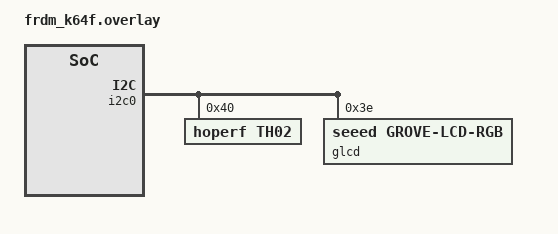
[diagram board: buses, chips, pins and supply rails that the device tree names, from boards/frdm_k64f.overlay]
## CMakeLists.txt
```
# SPDX-License-Identifier: Apache-2.0

cmake_minimum_required(VERSION 3.20.0)
find_package(Zephyr REQUIRED HINTS $ENV{ZEPHYR_BASE})
project(th02)

FILE(GLOB app_sources src/*.c)
target_sources(app PRIVATE ${app_sources})
```

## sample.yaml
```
sample:
  name: TH02 Temperature and Humidity Monitor
tests:
  sample.sensor.th02:
    harness: sensor
    tags: sensors
    depends_on: i2c
    filter: dt_compat_enabled("hoperf,th02") and dt_compat_enabled("seeed,grove-lcd-rgb")
```

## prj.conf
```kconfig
CONFIG_STDOUT_CONSOLE=y
CONFIG_I2C=y
CONFIG_SENSOR=y
CONFIG_LOG=n
CONFIG_SENSOR_LOG_LEVEL_DBG=y
CONFIG_GROVE_LCD_RGB=y
CONFIG_CBPRINTF_FP_SUPPORT=y
```

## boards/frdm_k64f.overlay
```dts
/*
 * Copyright (c) 2019, Linaro Ltd.
 *
 * SPDX-License-Identifier: Apache-2.0
 */

&i2c0 {
	th02@40 {
		compatible = "hoperf,th02";
		reg = <0x40>;
	};

	glcd: glcd@3e {
		compatible = "seeed,grove-lcd-rgb";
		reg = <0x3e>;
	};
};
```

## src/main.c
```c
/*
 * Copyright (c) 2016 Intel Corporation.
 *
 * SPDX-License-Identifier: Apache-2.0
 */

#include <zephyr/kernel.h>
#include <zephyr/device.h>
#include <zephyr/drivers/sensor.h>
#include <zephyr/sys/printk.h>
#include <zephyr/sys/util.h>

#include <zephyr/drivers/misc/grove_lcd/grove_lcd.h>
#include <stdio.h>
#include <string.h>

struct channel_info {
	int chan;
};

static struct channel_info info[] = {
	{ SENSOR_CHAN_AMBIENT_TEMP, },
	{ SENSOR_CHAN_HUMIDITY, },
};

int main(void)
{
	const struct device *const glcd = DEVICE_DT_GET(DT_NODELABEL(glcd));
	const struct device *const th02 = DEVICE_DT_GET_ONE(hoperf_th02);
	struct sensor_value val[ARRAY_SIZE(info)];
	unsigned int i;
	int rc;

	if (!device_is_ready(th02)) {
		printk("TH02 is not ready\n");
		return 0;
	}

	if (!device_is_ready(glcd)) {
		printk("Grove LCD not ready\n");
		return 0;
	}

	/* configure LCD */
	glcd_function_set(glcd, GLCD_FS_ROWS_2 | GLCD_FS_DOT_SIZE_LITTLE |
			  GLCD_FS_8BIT_MODE);
	glcd_display_state_set(glcd, GLCD_DS_DISPLAY_ON);

	while (1) {
		/* fetch sensor samples */
		rc = sensor_sample_fetch(th02);
		if (rc) {
			printk("Failed to fetch sample for device TH02 (%d)\n", rc);
		}

		for (i = 0U; i < ARRAY_SIZE(info); i++) {
			rc = sensor_channel_get(th02, info[i].chan, &val[i]);
			if (rc) {
				printk("Failed to get data for device TH02 (%d)\n", rc);
				continue;
			}
		}

		char row[16];

		/* clear LCD */
		(void)memset(row, ' ', sizeof(row));
		glcd_cursor_pos_set(glcd, 0, 0);
		glcd_print(glcd, row, sizeof(row));
		glcd_cursor_pos_set(glcd, 0, 1);
		glcd_print(glcd, row, sizeof(row));

		/* display temperature on LCD */
		glcd_cursor_pos_set(glcd, 0, 0);
		sprintf(row, "T:%.1f%cC", sensor_value_to_double(val),
			223 /* degree symbol */);
		glcd_print(glcd, row, strlen(row));

		/* display humidity on LCD */
		glcd_cursor_pos_set(glcd, 17 - strlen(row), 0);
		sprintf(row, "RH:%.0f%c", sensor_value_to_double(val + 1),
			37 /* percent symbol */);
		glcd_print(glcd, row, strlen(row));

		k_sleep(K_MSEC(2000));
	}
	return 0;
}
```
